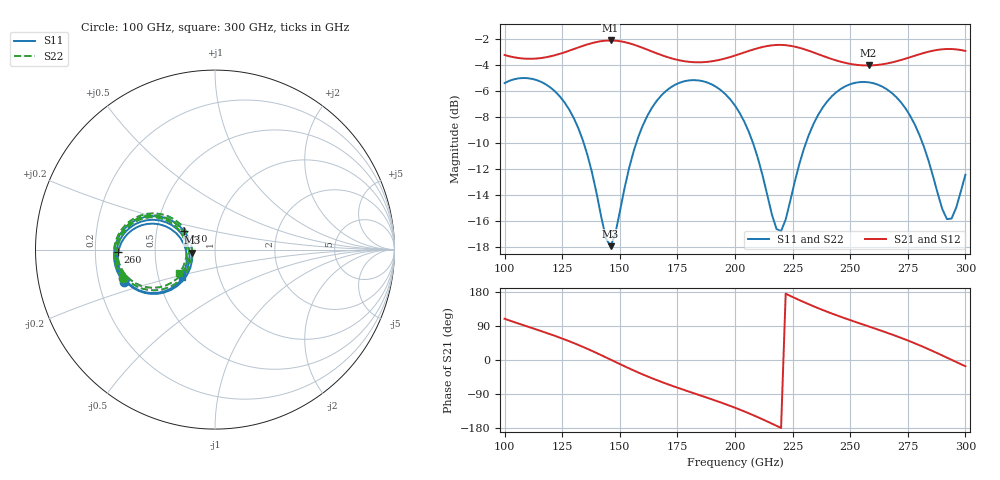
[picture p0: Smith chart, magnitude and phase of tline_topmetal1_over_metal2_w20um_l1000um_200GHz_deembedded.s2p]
! Created with skrf 2.0.1 (http://scikit-rf.org).
# GHz S DB R 50.0
!freq dBS11 angS11 dBS21 angS21 dBS12 angS12 dBS22 angS22
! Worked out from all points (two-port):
!   101 points, 100 GHz to 300 GHz, reference 50 ohm
!   highest |S21| = -2.08 dB at 146 GHz (marker M1); lowest = -4.0 dB at 258 GHz (marker M2)
!   |S21| within 3 dB of the highest: start of sweep to end of sweep
!   lowest |S11| = -17.9 dB at 146 GHz (marker M3), VSWR 1.29, Z = 38.8 - j1.3 ohm
!   |S11| at or under -10 dB: 134.4 GHz to 157.1 GHz (22.74 GHz wide, 15.6 % of centre); 207.9 GHz to 230.7 GHz (22.87 GHz wide, 10.4 % of centre); 281.4 GHz to end of sweep
!   |S22| runs from -17.9 to -5.0 dB; largest |S21 - S12| = 8.7e-14
!   S11 on the Smith chart (normalised r, x): 100 GHz: 0.31, -0.15; 140 GHz: 0.69, +0.15; 260 GHz: 0.30, -0.01; 300 GHz: 0.66, -0.21
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100  -5.36 -160.7  -3.20 108.7  -3.20 108.7  -5.36 -162.7
116  -5.28 173.4  -3.43 76.0  -3.43 76.0  -5.28 171.1
126  -6.84 157.6  -2.99 54.3  -2.99 54.3  -6.85 155.2
134  -9.78 147.3  -2.49 34.6  -2.49 34.6  -9.79 144.7
140  -13.92 148.9  -2.19 18.2  -2.19 18.2  -13.91 146.2
146  -17.92 -172.5  -2.08 1.0  -2.08 1.0  -17.89 -175.5
158  -9.52 -137.6  -2.52 -32.9  -2.52 -32.9  -9.52 -140.8
168  -6.31 -151.6  -3.20 -57.6  -3.20 -57.6  -6.32 -155.0
184  -5.15 -176.6  -3.76 -91.5  -3.76 -91.5  -5.16 179.7
200  -7.09 159.4  -3.24 -126.0  -3.24 -126.0  -7.10 155.4
210  -11.19 150.4  -2.67 -151.2  -2.67 -151.2  -11.19 146.2
218  -16.59 176.1  -2.42 -173.6  -2.42 -173.6  -16.58 171.7
220  -16.76 -167.9  -2.42 -179.4  -2.42 -179.4  -16.75 -172.4
226  -12.91 -139.7  -2.56 163.5  -2.56 163.5  -12.91 -144.3
234  -8.54 -141.0  -2.99 142.0  -2.99 142.0  -8.55 -145.9
244  -6.06 -154.8  -3.62 118.2  -3.62 118.2  -6.07 -159.8
258  -5.30 -175.6  -4.00 88.7  -4.00 88.7  -5.31 179.0
260  -5.37 -178.6  -3.99 84.5  -3.99 84.5  -5.38 176.0
268  -6.11 169.8  -3.77 67.5  -3.77 67.5  -6.13 164.2
280  -9.33 155.6  -3.14 39.1  -3.14 39.1  -9.36 149.6
292  -15.84 -178.2  -2.73 6.2  -2.73 6.2  -15.95 175.7
300  -12.42 -141.0  -2.88 -16.5  -2.88 -16.5  -12.48 -146.8
